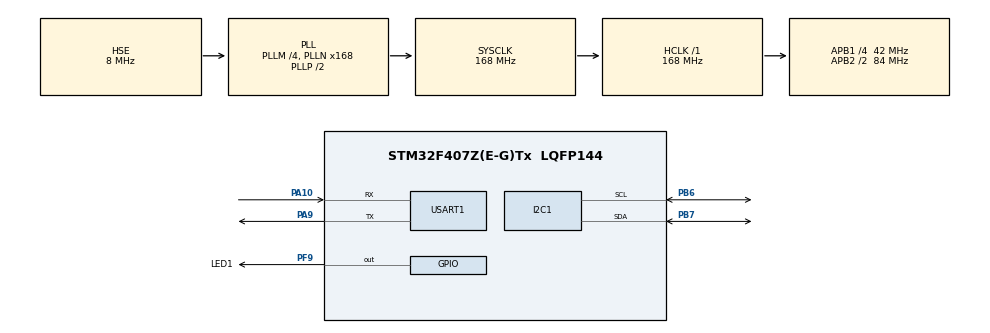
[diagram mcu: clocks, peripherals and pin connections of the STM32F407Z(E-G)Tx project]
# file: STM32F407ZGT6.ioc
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Mcu.Family=STM32F4
Mcu.Name=STM32F407Z(E-G)Tx
Mcu.Package=LQFP144
NVIC.I2C1_EV_IRQn=true\:0\:0\:false\:false\:true\:true\:true
NVIC.PriorityGroup=NVIC_PRIORITYGROUP_4
PA10.Mode=Asynchronous
PA10.Signal=USART1_RX
PA13.Mode=Serial_Wire
PA13.Signal=SYS_JTMS-SWDIO
PA14.Mode=Serial_Wire
PA14.Signal=SYS_JTCK-SWCLK
PA9.Mode=Asynchronous
PA9.Signal=USART1_TX
PB6.GPIO_Pu=GPIO_PULLUP
PB6.Mode=I2C
PB6.Signal=I2C1_SCL
PB7.Mode=I2C
PB7.Signal=I2C1_SDA
PC14-OSC32_IN.Mode=LSE-External-Oscillator
PC14-OSC32_IN.Signal=RCC_OSC32_IN
PC15-OSC32_OUT.Mode=LSE-External-Oscillator
PC15-OSC32_OUT.Signal=RCC_OSC32_OUT
PF9.GPIO_Label=LED1
PF9.Signal=GPIO_Output
PH0-OSC_IN.Mode=HSE-External-Oscillator
PH0-OSC_IN.Signal=RCC_OSC_IN
PH1-OSC_OUT.Mode=HSE-External-Oscillator
PH1-OSC_OUT.Signal=RCC_OSC_OUT
ProjectManager.HeapSize=0x200
ProjectManager.StackSize=0x1000
ProjectManager.TargetToolchain=MDK-ARM V5.32
RCC.48MHZClocksFreq_Value=112000000
RCC.AHBFreq_Value=168000000
RCC.APB1CLKDivider=RCC_HCLK_DIV4
RCC.APB1Freq_Value=42000000
RCC.APB1TimFreq_Value=84000000
RCC.APB2CLKDivider=RCC_HCLK_DIV2
RCC.APB2Freq_Value=84000000
RCC.APB2TimFreq_Value=168000000
RCC.CortexFreq_Value=168000000
RCC.HCLKFreq_Value=168000000
RCC.HSE_VALUE=8000000
RCC.HSI_VALUE=16000000
RCC.PLLM=4
RCC.PLLN=168
RCC.PLLQ=3
RCC.PLLSourceVirtual=RCC_PLLSOURCE_HSE
RCC.RCC_RTC_Clock_Source=RCC_RTCCLKSOURCE_LSE
RCC.RCC_RTC_Clock_SourceVirtual=RCC_RTCCLKSOURCE_LSE
RCC.SYSCLKFreq_VALUE=168000000
RCC.SYSCLKSource=RCC_SYSCLKSOURCE_PLLCLK
RCC.VCOOutputFreq_Value=336000000
USART1.VirtualMode=VM_ASYNC
board=custom

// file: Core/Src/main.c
/* USER CODE BEGIN Header */
/**
 ******************************************************************************
 * @file           : main.c
 * @brief          : Main program body
 ******************************************************************************
 * @attention
 *
 * Copyright (c) 2021 STMicroelectronics.
 * All rights reserved.
 *
 * This software is licensed under terms that can be found in the LICENSE file
 * in the root directory of this software component.
 * If no LICENSE file comes with this software, it is provided AS-IS.
 *
 ******************************************************************************
 */
/* USER CODE END Header */
#include "main.h"
#include "i2c.h"
#include "usart.h"
#include "gpio.h"

/* USER CODE BEGIN Includes */
#include <stdio.h>

/* USER CODE END Includes */

/* USER CODE BEGIN PV */
uint8_t TBuffer[10];
uint8_t RBuffer[10];

/* USER CODE END PV */

void SystemClock_Config(void);

int main(void)
{

  /* MCU Configuration--------------------------------------------------------*/

  /* Reset of all peripherals, Initializes the Flash interface and the Systick. */
  HAL_Init();

  /* Configure the system clock */
  SystemClock_Config();

  /* Initialize all configured peripherals */
  MX_GPIO_Init();
  MX_USART1_UART_Init();
  MX_I2C1_Init();
  /* USER CODE BEGIN 2 */
	char a[1] = {0};
	scanf("%c", a);
  printf("Hello World!\r\n");
  for (uint8_t i = 0; i < 10; i++)
  {
    TBuffer[i] = 'a' + i;
		printf("%c ", TBuffer[i]);
  }

  // 主机 I2C 发�?�数�?
  HAL_I2C_Master_Transmit(&hi2c1, 0x60, TBuffer, 10, 10);
	printf("Tansmited.\r\n");
  // 中断等待接收数据
  HAL_I2C_Master_Receive_IT(&hi2c1, 0x60, RBuffer, 10);

  /* USER CODE END 2 */

  /* Infinite loop */
  while (1)
  {

  }
}

void SystemClock_Config(void)
{
  RCC_OscInitTypeDef RCC_OscInitStruct = {0};
  RCC_ClkInitTypeDef RCC_ClkInitStruct = {0};

  /** Configure the main internal regulator output voltage
  */
  __HAL_RCC_PWR_CLK_ENABLE();
  __HAL_PWR_VOLTAGESCALING_CONFIG(PWR_REGULATOR_VOLTAGE_SCALE1);
  /** Initializes the RCC Oscillators according to the specified parameters
  * in the RCC_OscInitTypeDef structure.
  */
  RCC_OscInitStruct.OscillatorType = RCC_OSCILLATORTYPE_HSE;
  RCC_OscInitStruct.HSEState = RCC_HSE_ON;
  RCC_OscInitStruct.PLL.PLLState = RCC_PLL_ON;
  RCC_OscInitStruct.PLL.PLLSource = RCC_PLLSOURCE_HSE;
  RCC_OscInitStruct.PLL.PLLM = 4;
  RCC_OscInitStruct.PLL.PLLN = 168;
  RCC_OscInitStruct.PLL.PLLP = RCC_PLLP_DIV2;
  RCC_OscInitStruct.PLL.PLLQ = 3;
  if (HAL_RCC_OscConfig(&RCC_OscInitStruct) != HAL_OK)
  {
    Error_Handler();
  }
  /** Initializes the CPU, AHB and APB buses clocks
  */
  RCC_ClkInitStruct.ClockType = RCC_CLOCKTYPE_HCLK|RCC_CLOCKTYPE_SYSCLK
                              |RCC_CLOCKTYPE_PCLK1|RCC_CLOCKTYPE_PCLK2;
  RCC_ClkInitStruct.SYSCLKSource = RCC_SYSCLKSOURCE_PLLCLK;
  RCC_ClkInitStruct.AHBCLKDivider = RCC_SYSCLK_DIV1;
  RCC_ClkInitStruct.APB1CLKDivider = RCC_HCLK_DIV4;
  RCC_ClkInitStruct.APB2CLKDivider = RCC_HCLK_DIV2;

  if (HAL_RCC_ClockConfig(&RCC_ClkInitStruct, FLASH_LATENCY_5) != HAL_OK)
  {
    Error_Handler();
  }
}

/* USER CODE BEGIN 4 */
int fputc(int ch, FILE *f)
{
  HAL_UART_Transmit(&huart1, (uint8_t *)&ch, 1, 0xffff);
  return ch;
}

int fgetc(FILE *f)
{
  uint8_t ch = 0;
  HAL_UART_Receive(&huart1, &ch, 1, 0xffff);
  return ch;
}

void HAL_I2C_MasterRxCpltCallback(I2C_HandleTypeDef *hi2c)
{
  printf("Receive String: %s.\r\n", RBuffer);
}

/* USER CODE END 4 */

void Error_Handler(void)
{
  __disable_irq();
  while (1)
  {
  }
}
